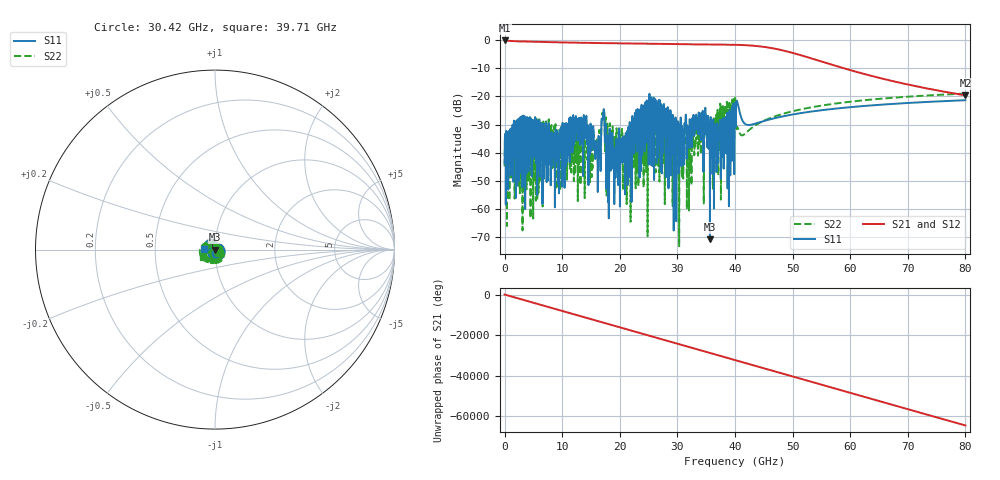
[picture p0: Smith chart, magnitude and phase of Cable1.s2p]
# Hz S DB R 50
!Touchstone multiport model file <C:\work\PySI\TestSignalIntegrity\OysterSimulation\ResampledSimbeor\Cable1_resampled.s2p>
!Created on 22 Aug 18, at 17:55:26.
!Created with Simbeor THz 2018.01(64bit) of Simberian Inc. built on Jul 20 2018
!Output from MultiportParameters of Simbeor.
!Multiport parameters: DataOrigin=Simulation DataOriginName="Project(1).Cable1_resampled_resampled.LNS"
!RESAMPLED_RCM: Max_RMS_Error=0.00174298; FrqLow=0; FrqHigh=4e+10; MaxTimeResolution=1.25e-11; PassivityState=1; ReciprocityState=1;
!RATIONAL COMPACTOR: Precision: Normal; Extract Delay: ON; Extrapolate to DC: ON; Extrapolate to Infinity: OFF; Enforce Passivity: ON; Enforce Reciprocity: ON; Band Limit Factor: 1; Auto-Adjust Config: OFF
!Uncomment the following lines with keywords in square brakets to support IBIS forum specification 2.0.
![Version] 2.0 !This line should be the first in file, preceeding the line starting with #.
![Number of Ports] 2
![Number of Frequencies] 8001
![Two-Port Data Order] 21_12
![Reference] 50 50
!!!!Multiport descriptor profile: InputCount=2 TotalPortCount=2
!DescriptorOutline={DescriptorType=SMatrix InputSpace=Terminal NormalizationType=CommonZo NormalizationCommonZo=50 Ohm OutputFormat=DBMagnitudeAngle}
!InputProfile={Name="IO1" IsTLineInput=False InputNumber=1 PortCount=1 FirstPortNumber=1 InputSpace=Terminal BlockType=SBlock NormalizationType=CommonZo Zo=50}
!InputProfile={Name="IO2" IsTLineInput=False InputNumber=2 PortCount=1 FirstPortNumber=2 InputSpace=Terminal BlockType=SBlock NormalizationType=CommonZo Zo=50}
!!!Global port number to input_name/local_port_number correspondence:
!Port 1 -> "IO1"/local_port_1 (terminal)
!Port 2 -> "IO2"/local_port_1 (terminal)
!!!!End of descriptor profile.
!Frequency Hz 20.0*log(|S[1,1]|) arg(S[1,1]) 20.0*log(|S[2,1]|) arg(S[2,1]) 20.0*log(|S[1,2]|) arg(S[1,2]) 20.0*log(|S[2,2]|) arg(S[2,2])
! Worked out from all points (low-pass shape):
!   8000 points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, 10 MHz to 80 GHz, reference 50 ohm
!   highest |S21| = -0.05 dB at 10 MHz (marker M1); lowest = -19.6 dB at 80 GHz (marker M2)
!   |S21| within 3 dB of the highest: start of sweep to 47.08 GHz
!   lowest |S11| = -70.9 dB at 35.65 GHz (marker M3), VSWR 1.00, Z = 50 - j0.0193 ohm
!   |S11| at or under -10 dB: start of sweep to end of sweep
!   |S22| runs from -73.3 to -19.0 dB; largest |S21 - S12| = 1.8e-14
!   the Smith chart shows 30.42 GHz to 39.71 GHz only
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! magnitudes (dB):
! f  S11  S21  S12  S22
! 10 MHz  -43.6  0.0  0.0  -44.9
! 3.12 GHz  -47.5  -0.4  -0.4  -67.7
! 9.1 GHz  -32.8  -0.7  -0.7  -31.3
! 13.35 GHz  -28.7  -0.9  -0.9  -31.1
! 16.32 GHz  -34.1  -1.0  -1.0  -36.5
! 17.21 GHz  -24.5  -1.0  -1.0  -26.4
! 17.77 GHz  -35.2  -1.0  -1.0  -32.7
! 19.35 GHz  -36.2  -1.1  -1.1  -36.8
! 20.9 GHz  -48.3  -1.1  -1.1  -34.7
! 22.97 GHz  -37.7  -1.2  -1.2  -34.0
! 25.5 GHz  -42.4  -1.3  -1.3  -30.2
! 26.68 GHz  -25.9  -1.3  -1.3  -31.8
! 30.13 GHz  -28.9  -1.3  -1.3  -38.2
! 32.05 GHz  -33.9  -1.4  -1.4  -43.2
! 32.94 GHz  -33.8  -1.4  -1.4  -40.9
! 35.65 GHz  -70.9  -1.5  -1.5  -34.7
! 39.06 GHz  -25.0  -1.6  -1.6  -22.4
! 40.01 GHz  -22.7  -1.6  -1.6  -20.3
! 41.33 GHz  -28.7  -1.7  -1.7  -33.8
! 53.34 GHz  -25.3  -6.5  -6.5  -23.8
! 66.67 GHz  -22.7  -14.2  -14.2  -20.6
! 80 GHz  -21.3  -19.6  -19.6  -19.0
